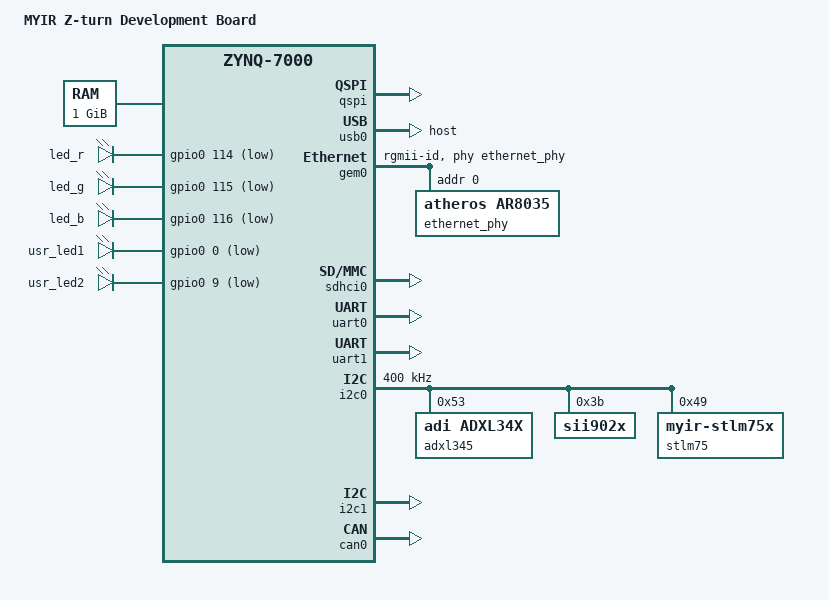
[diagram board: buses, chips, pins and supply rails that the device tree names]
/*
 *  Copyright (C) 2011 - 2014 Xilinx
 *  Copyright (C) 2012 National Instruments Corp.
 *
 * This software is licensed under the terms of the GNU General Public
 * License version 2, as published by the Free Software Foundation, and
 * may be copied, distributed, and modified under those terms.
 *
 * This program is distributed in the hope that it will be useful,
 * but WITHOUT ANY WARRANTY; without even the implied warranty of
 * MERCHANTABILITY or FITNESS FOR A PARTICULAR PURPOSE.  See the
 * GNU General Public License for more details.
 */
/dts-v1/;
/include/ "zynq-7000.dtsi"


/ {
	model = "MYIR Z-turn Development Board";
	compatible = "myir,zynq-zturn", "xlnx,zynq-7000";

	aliases {
		serial0 = &uart1;
		serial1 = &uart0;
		spi0 = &qspi;
	};

	memory {
		device_type = "memory";
		reg = <0 0x40000000>;
	};

	chosen {
		bootargs = "earlyprintk";
		stdout-path = "serial0:115200n8";
	};
};

&qspi {
	u-boot,dm-pre-reloc;
	status = "okay";
};

&usb0 {
	status = "okay";
	dr_mode = "host";
	phy_type = "ulpi";	
};

&gem0 {
	status = "okay";
	phy-mode = "rgmii-id";
	phy-handle = <&ethernet_phy>;

	ethernet_phy: ethernet-phy@0 {
		compatible = "atheros,ar8035";
		device_type = "ethernet-phy";
		reg = <0>;
	};
};

&sdhci0 {
	status = "okay";
	xlnx,has-cd = <0x1>;
	xlnx,has-power = <0x0>;
	xlnx,has-wp = <0x1>;
};

&uart0 {
	status = "okay";
	port-number = <1>;
};

&uart1 {
	u-boot,dm-pre-reloc;
	status = "okay";
};

&i2c0 {
	status = "okay";
	clock-frequency = <400000>;
	xlnx,has-interrupt = <0x1>;

    adxl345@53 {
        compatible = "adi,adxl34x","adxl34x";
        reg = <0x53>;
        interrupt-parent = <&intc>;
        interrupts = < 0 31 4 >;
    };
    
    sii902x@3b {
        compatible = "sii902x";
        reg = <0x3b>;
        interrupt-parent = <&intc>;
        interrupts = < 0 29 4 >;
		mode_str = "1920x1080";
		bits-per-pixel = <16>;
    };

	stlm75@49 {
		status = "okay";
		compatible = "myir-stlm75x";
		reg = <0x49>;
		interrupts = < 0 32 4 >;
	};
};

&i2c1 {
	status = "okay";
};

&can0 {
	status = "okay";
};

&amba {

	gpio-leds {
		compatible = "gpio-leds";
		led_r {
			label = "led_r";
			gpios = <&gpio0 114 1>;
			default-state = "on";
			linux,default-trigger = "heartbeat";
		};
		led_g {
			label = "led_g";
			gpios = <&gpio0 115 1>;
			default-state = "on";
			linux,default-trigger = "heartbeat";
		};
		led_b {
			label = "led_b";
			gpios = <&gpio0 116 1>;
			default-state = "on";
			linux,default-trigger = "heartbeat";
		};
		usr_led1 {
			label = "usr_led1";
			gpios = <&gpio0 0 1>;
			default-state = "off";
			linux,default-trigger = "none";
		};
		usr_led2 {
			label = "usr_led2";
			gpios = <&gpio0 9 1>;
			default-state = "off";
			linux,default-trigger = "none";
		};
	};
};
